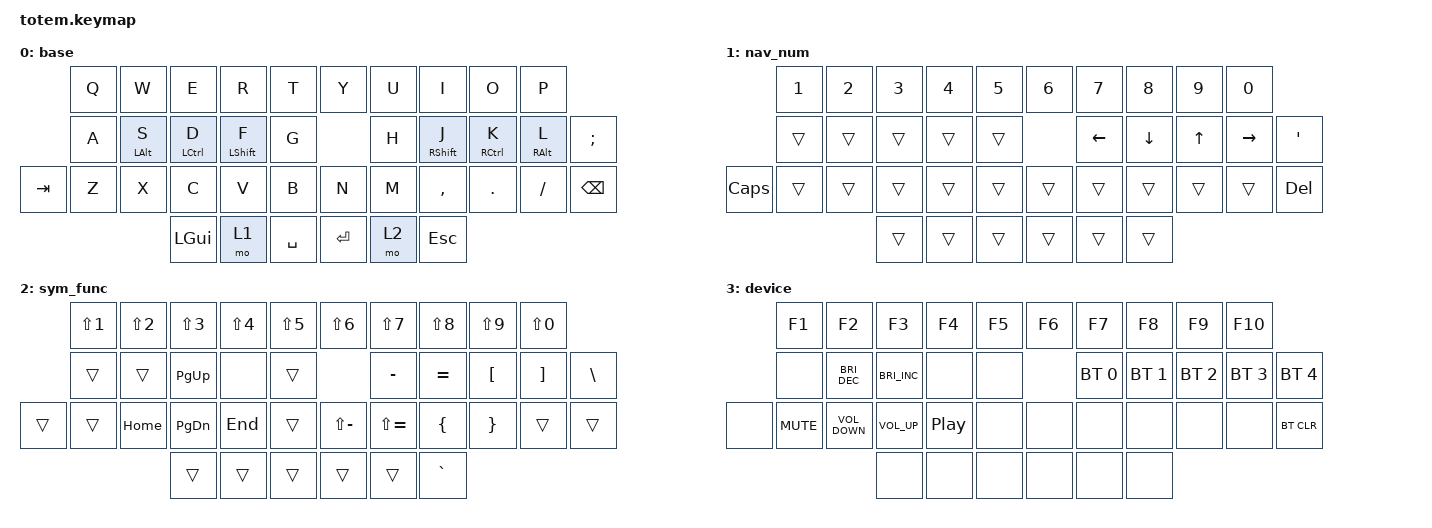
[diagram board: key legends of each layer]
//
//                                                        ▀▀▀▀▀     ▀▀▀▀▀          ▀▀█▀▀
//                                                        ▄▀▀▀▄  ▄  ▄▀▀▀▄  ▄  ▄▀▀▀▄  █  ▄▀▀▀▄
//                                                        █   █  █  █   █  █  █   █  █  █   █
//                                                         ▀▀▀   █   ▀▀▀   █   ▀▀▀   ▀   ▀▀▀
//                                                               █      ▄▄▄█▄▄▄    █   █  
//                                                               ▀      █  █  █     █▄█
//                                                             ▀▀▀▀▀    █  █  █      ▀
//                                                                      ▀  ▀  ▀
//
// ▄▄▄▄▄▄▄▄▄▄▄▄▄▄▄▄▄▄▄▄▄▄▄▄▄▄▄▄▄▄▄▄▄▄▄▄▄▄▄▄▄▄▄▄▄▄▄▄▄▄▄▄▄▄▄▄▄▄▄▄▄▄▄▄▄▄▄▄▄▄▄▄▄▄▄▄▄▄▄▄▄▄▄▄▄▄▄▄▄▄▄▄▄▄▄▄▄▄▄▄▄▄▄▄▄▄▄▄▄▄▄▄▄▄▄▄▄▄▄▄▄▄▄▄▄▄▄▄▄▄▄▄▄▄▄▄▄▄▄▄▄▄▄▄▄▄▄▄▄

#include <behaviors.dtsi>
#include <dt-bindings/zmk/bt.h>
#include <dt-bindings/zmk/keys.h>

// Key positions follow binding order in each layer (0 = Q, 1 = W, ... 37 = ESC).

/ {
    behaviors {
        // Plain mod-tap: hold only after tapping-term-ms with no other decision path.
        // No positional hold — that caused early mods on rolls with balanced/tap-preferred mix.
        hml: home_row_mod_left {
            compatible = "zmk,behavior-hold-tap";
            #binding-cells = <2>;
            flavor = "tap-preferred";
            tapping-term-ms = <175>;
            quick-tap-ms = <175>;
            require-prior-idle-ms = <150>;
            bindings = <&kp>, <&kp>;
        };

        hmr: home_row_mod_right {
            compatible = "zmk,behavior-hold-tap";
            #binding-cells = <2>;
            flavor = "tap-preferred";
            tapping-term-ms = <175>;
            quick-tap-ms = <175>;
            require-prior-idle-ms = <150>;
            bindings = <&kp>, <&kp>;
        };
    };

    keymap {
        compatible = "zmk,keymap";

        base {
            bindings = <
           	&kp Q		&kp W		&kp E     	&kp R  		&kp T    	&kp Y   	&kp U           &kp I          &kp O    	&kp P
        	&kp A		&hml LALT S  	&hml LCTRL D   	&hml LSHFT F  	&kp G    	&kp H   	&hmr RSHFT J    &hmr RCTRL K   &hmr RALT L 	&kp SEMI
&kp TAB		&kp Z		&kp X		&kp C     	&kp V  		&kp B    	&kp N   	&kp M           &kp COMMA      &kp DOT  	&kp FSLH  	&kp BSPC
                         			&kp LGUI  	&mo 1  		&kp SPACE    	&kp RET		&mo 2		&kp ESC
            >;
        };

        nav_num {
            bindings = <
                &kp N1		&kp N2		&kp N3		&kp N4		&kp N5       	&kp N6      	&kp N7          &kp N8      	&kp N9		&kp N0
                &trans		&trans      	&trans   	&trans		&trans		&kp LEFT	&kp DOWN	&kp UP		&kp RIGHT	&kp APOS
&kp CAPS	&trans		&trans		&trans		&trans		&trans		&trans		&trans		&trans		&trans		&trans		&kp DEL
                                        	&trans     	&trans          &trans          &trans   	&trans 		&trans
            >;
        };

		sym_func {
			bindings = <
				&kp LS(N1)	&kp LS(N2)	&kp LS(N3)	&kp LS(N4)	&kp LS(N5)	&kp LS(N6)	&kp LS(N7)	&kp LS(N8)	&kp LS(N9)	&kp LS(N0)
				&trans	 	&trans          &kp PG_UP	&none		&trans		&kp MINUS   	&kp EQUAL       &kp LBKT	&kp RBKT 	&kp BSLH
				&trans  	&trans		&kp HOME	&kp PG_DN	&kp END		&trans		&kp LS(MINUS) 	&kp LS(EQUAL)   &kp LBRC  	&kp RBRC  	&trans  	&trans
				&trans		&trans           &trans          &trans		&trans		&kp GRAVE
			>;
		};

        device {
            bindings = <
                &kp F1       	&kp F2                  &kp F3              	&kp F4            &kp F5       &kp F6       &kp F7          	&kp F8         &kp F9       &kp F10
                &none        	&kp C_BRIGHTNESS_DEC    &kp C_BRIGHTNESS_INC 	&none             &none        &bt BT_SEL 0 &bt BT_SEL 1  	&bt BT_SEL 2   &bt BT_SEL 3 &bt BT_SEL 4
&none		&kp K_MUTE  	&kp C_VOLUME_DOWN       &kp C_VOLUME_UP     	&kp C_PLAY_PAUSE  &none        &none        &none          	&none          &none        &none        &bt BT_CLR
                                                	&none               	&none             &none        &none        &none           	&none
            >;
        };

        extra1 { status = "reserved"; };

        extra2 { status = "reserved"; };

        extra3 { status = "reserved"; };
    };

    conditional_layers {
        compatible = "zmk,conditional-layers";

        device {
            if-layers = <1 2>;
            then-layer = <3>;
        };
    };
};
